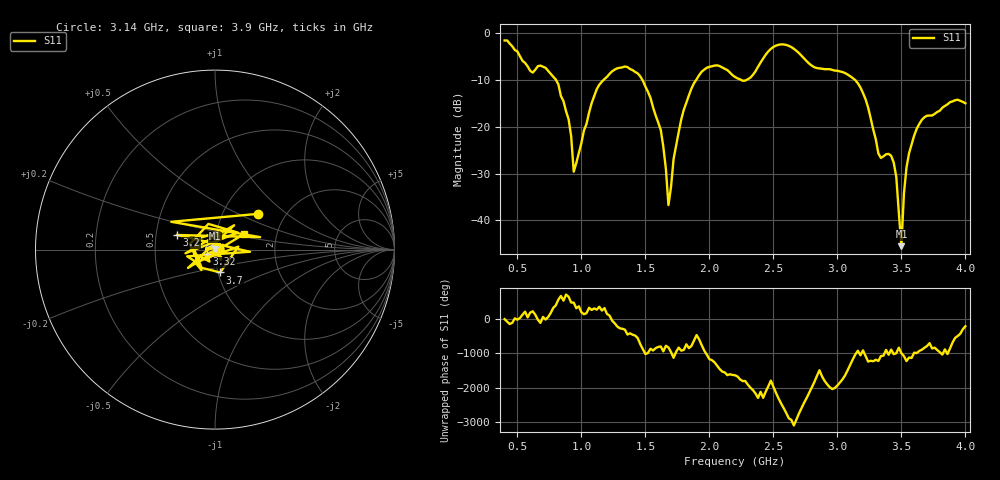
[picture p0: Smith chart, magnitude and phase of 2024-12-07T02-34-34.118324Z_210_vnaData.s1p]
!Created with skrf (http://scikit-rf.org).
# Hz S RI R 50.0
!freq ReS11 ImS11
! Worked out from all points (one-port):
!   181 points, 400 MHz to 4 GHz, reference 50 ohm
!   lowest |S11| = -45.5 dB at 3.5 GHz (marker M1), VSWR 1.01, Z = 50.1 + j0.52 ohm
!   |S11| at or under -10 dB: 800.4 MHz to 1.175 GHz (375.1 MHz wide, 38 % of centre); 1.475 GHz to 1.898 GHz (423.1 MHz wide, 25.1 % of centre); 3.136 GHz to end of sweep (the widest 3 of 4)
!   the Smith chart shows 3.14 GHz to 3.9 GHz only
!   S11 on the Smith chart (normalised r, x): 3.14 GHz: 1.47, +0.65; 3.2 GHz: 0.64, +0.11; 3.32 GHz: 0.91, -0.05; 3.7 GHz: 1.03, -0.27; 3.9 GHz: 1.37, +0.25
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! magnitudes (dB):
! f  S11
! 400 MHz  -1.6
! 620 MHz  -8.5
! 720 MHz  -7.5
! 860 MHz  -14.6
! 920 MHz  -22.1
! 940 MHz  -29.6
! 1.12 GHz  -12.0
! 1.3 GHz  -7.5
! 1.44 GHz  -8.7
! 1.54 GHz  -13.9
! 1.62 GHz  -20.7
! 1.68 GHz  -36.7
! 1.76 GHz  -21.2
! 1.94 GHz  -8.3
! 2.2 GHz  -9.4
! 2.66 GHz  -3.4
! 3.1 GHz  -9.3
! 3.14 GHz  -10.1
! 3.2 GHz  -12.8
! 3.32 GHz  -25.7
! 3.44 GHz  -27.7
! 3.46 GHz  -30.7
! 3.5 GHz  -45.5
! 3.52 GHz  -34.2
! 3.56 GHz  -25.7
! 3.7 GHz  -17.7
! 3.9 GHz  -14.6
! 4 GHz  -15.0
